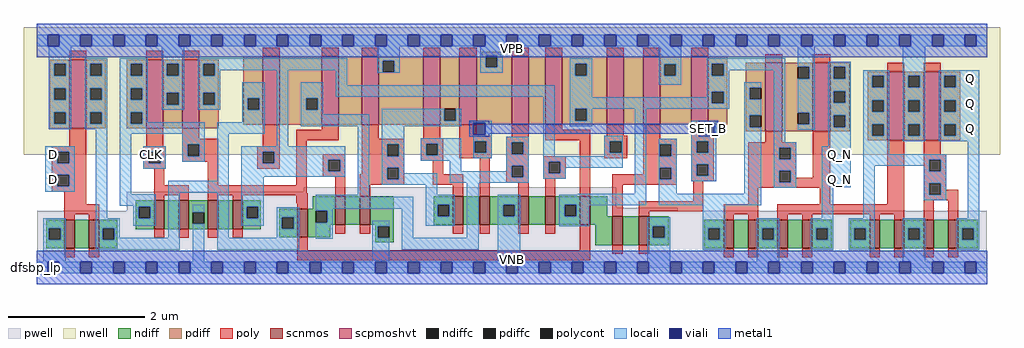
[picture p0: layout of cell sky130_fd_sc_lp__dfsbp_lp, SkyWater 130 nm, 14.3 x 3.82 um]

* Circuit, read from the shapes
.subckt sky130_fd_sc_lp__dfsbp_lp CLK D SET_B VGND VNB VPB VPWR Q Q_N
XM1 n1 D VGND VNB sky130_fd_pr__nfet_01v8 w=0.42 l=0.15
XM2 n2 D n1 VNB sky130_fd_pr__nfet_01v8 w=0.42 l=0.15
XM3 n3 CLK n4 VNB sky130_fd_pr__nfet_01v8 w=0.42 l=0.15
XM4 VGND CLK n3 VNB sky130_fd_pr__nfet_01v8 w=0.42 l=0.15
XM5 n5 n4 VGND VNB sky130_fd_pr__nfet_01v8 w=0.42 l=0.15
XM6 n6 n4 n5 VNB sky130_fd_pr__nfet_01v8 w=0.42 l=0.15
XM7 n7 n4 n2 VNB sky130_fd_pr__nfet_01v8 w=0.42 l=0.15
XM8 n8 n6 n7 VNB sky130_fd_pr__nfet_01v8 w=0.42 l=0.15
XM9 VGND n9 n8 VNB sky130_fd_pr__nfet_01v8 w=0.42 l=0.15
XM10 n10 n7 n9 VNB sky130_fd_pr__nfet_01v8 w=0.42 l=0.15
XM11 VGND SET_B n10 VNB sky130_fd_pr__nfet_01v8 w=0.42 l=0.15
XM12 n11 n7 VGND VNB sky130_fd_pr__nfet_01v8 w=0.42 l=0.15
XM13 n12 n6 n11 VNB sky130_fd_pr__nfet_01v8 w=0.42 l=0.15
XM14 n13 n4 n12 VNB sky130_fd_pr__nfet_01v8 w=0.42 l=0.15
XM15 n14 n15 n13 VNB sky130_fd_pr__nfet_01v8 w=0.42 l=0.15
XM16 VGND SET_B n14 VNB sky130_fd_pr__nfet_01v8 w=0.42 l=0.15
XM17 n16 n12 n15 VNB sky130_fd_pr__nfet_01v8 w=0.42 l=0.15
XM18 VGND n12 n16 VNB sky130_fd_pr__nfet_01v8 w=0.42 l=0.15
XM19 n17 n12 VGND VNB sky130_fd_pr__nfet_01v8 w=0.42 l=0.15
XM20 Q_N n12 n17 VNB sky130_fd_pr__nfet_01v8 w=0.42 l=0.15
XM21 n18 n12 n19 VNB sky130_fd_pr__nfet_01v8 w=0.42 l=0.15
XM22 VGND n12 n18 VNB sky130_fd_pr__nfet_01v8 w=0.42 l=0.15
XM23 n20 n19 VGND VNB sky130_fd_pr__nfet_01v8 w=0.42 l=0.15
XM24 Q n19 n20 VNB sky130_fd_pr__nfet_01v8 w=0.42 l=0.15
XM25 n2 D VPWR VPB sky130_fd_pr__pfet_01v8_hvt w=1 l=0.25
XM26 VPWR CLK n4 VPB sky130_fd_pr__pfet_01v8_hvt w=1 l=0.25
XM27 n6 n4 VPWR VPB sky130_fd_pr__pfet_01v8_hvt w=1 l=0.25
XM28 n7 n6 n2 VPB sky130_fd_pr__pfet_01v8_hvt w=1 l=0.25
XM29 n21 n4 n7 VPB sky130_fd_pr__pfet_01v8_hvt w=1 l=0.25
XM30 VPWR n9 n21 VPB sky130_fd_pr__pfet_01v8_hvt w=1 l=0.25
XM31 n9 n7 VPWR VPB sky130_fd_pr__pfet_01v8_hvt w=1 l=0.25
XM32 VPWR SET_B n9 VPB sky130_fd_pr__pfet_01v8_hvt w=1 l=0.25
XM33 n22 n7 VPWR VPB sky130_fd_pr__pfet_01v8_hvt w=1 l=0.25
XM34 n12 n4 n22 VPB sky130_fd_pr__pfet_01v8_hvt w=1 l=0.25
XM35 n23 n6 n12 VPB sky130_fd_pr__pfet_01v8_hvt w=1 l=0.25
XM36 VPWR n15 n23 VPB sky130_fd_pr__pfet_01v8_hvt w=1 l=0.25
XM37 n12 SET_B VPWR VPB sky130_fd_pr__pfet_01v8_hvt w=1 l=0.25
XM38 VPWR n12 n15 VPB sky130_fd_pr__pfet_01v8_hvt w=1 l=0.25
XM39 Q_N n12 VPWR VPB sky130_fd_pr__pfet_01v8_hvt w=1 l=0.25
XM40 VPWR n12 n19 VPB sky130_fd_pr__pfet_01v8_hvt w=1 l=0.25
XM41 Q n19 VPWR VPB sky130_fd_pr__pfet_01v8_hvt w=1 l=0.25
.ends

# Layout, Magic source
magic
tech sky130A
magscale 1 2
<< nwell >>
rect -38 331 2822 704
<< pwell >>
rect 782 223 1697 235
rect 263 176 1697 223
rect 263 167 1877 176
rect 1 49 2783 167
rect 0 0 2784 49
<< scnmos >>
rect 80 57 110 141
rect 152 57 182 141
rect 343 113 373 197
rect 415 113 445 197
rect 501 113 531 197
rect 573 113 603 197
rect 763 89 793 173
rect 874 125 904 209
rect 946 125 976 209
rect 1219 125 1249 209
rect 1297 125 1327 209
rect 1411 125 1441 209
rect 1489 125 1519 209
rect 1591 125 1621 209
rect 1686 66 1716 150
rect 1764 66 1794 150
rect 2012 57 2042 141
rect 2084 57 2114 141
rect 2170 57 2200 141
rect 2242 57 2272 141
rect 2440 57 2470 141
rect 2512 57 2542 141
rect 2598 57 2628 141
rect 2670 57 2700 141
<< scpmoshvt >>
rect 95 409 145 609
rect 320 409 370 609
rect 426 409 476 609
rect 662 419 712 619
rect 834 419 884 619
rect 952 419 1002 619
rect 1132 419 1182 619
rect 1238 419 1288 619
rect 1391 419 1441 619
rect 1489 419 1539 619
rect 1669 419 1719 619
rect 1777 419 1827 619
rect 1917 419 1967 619
rect 2134 400 2184 600
rect 2274 400 2324 600
rect 2492 374 2542 574
rect 2598 374 2648 574
<< ndiff >>
rect 289 179 343 197
rect 289 145 298 179
rect 332 145 343 179
rect 27 116 80 141
rect 27 82 35 116
rect 69 82 80 116
rect 27 57 80 82
rect 110 57 152 141
rect 182 116 235 141
rect 182 82 193 116
rect 227 82 235 116
rect 289 113 343 145
rect 373 113 415 197
rect 445 163 501 197
rect 445 129 456 163
rect 490 129 501 163
rect 445 113 501 129
rect 531 113 573 197
rect 603 179 656 197
rect 603 145 614 179
rect 648 145 656 179
rect 808 173 874 209
rect 603 113 656 145
rect 710 148 763 173
rect 710 114 718 148
rect 752 114 763 148
rect 710 89 763 114
rect 793 166 874 173
rect 793 132 817 166
rect 851 132 874 166
rect 793 125 874 132
rect 904 125 946 209
rect 976 125 1045 209
rect 1162 185 1219 209
rect 1162 151 1174 185
rect 1208 151 1219 185
rect 1162 125 1219 151
rect 1249 125 1297 209
rect 1327 184 1411 209
rect 1327 150 1366 184
rect 1400 150 1411 184
rect 1327 125 1411 150
rect 1441 125 1489 209
rect 1519 184 1591 209
rect 1519 150 1546 184
rect 1580 150 1591 184
rect 1519 125 1591 150
rect 1621 150 1671 209
rect 1621 125 1686 150
rect 793 89 859 125
rect 991 121 1045 125
rect 182 57 235 82
rect 991 87 999 121
rect 1033 87 1045 121
rect 991 75 1045 87
rect 1636 66 1686 125
rect 1716 66 1764 150
rect 1794 121 1851 150
rect 1794 87 1805 121
rect 1839 87 1851 121
rect 1794 66 1851 87
rect 1955 116 2012 141
rect 1955 82 1967 116
rect 2001 82 2012 116
rect 1955 57 2012 82
rect 2042 57 2084 141
rect 2114 116 2170 141
rect 2114 82 2125 116
rect 2159 82 2170 116
rect 2114 57 2170 82
rect 2200 57 2242 141
rect 2272 116 2329 141
rect 2272 82 2283 116
rect 2317 82 2329 116
rect 2272 57 2329 82
rect 2383 116 2440 141
rect 2383 82 2395 116
rect 2429 82 2440 116
rect 2383 57 2440 82
rect 2470 57 2512 141
rect 2542 116 2598 141
rect 2542 82 2553 116
rect 2587 82 2598 116
rect 2542 57 2598 82
rect 2628 57 2670 141
rect 2700 116 2757 141
rect 2700 82 2711 116
rect 2745 82 2757 116
rect 2700 57 2757 82
<< pdiff >>
rect 1303 621 1361 633
rect 1303 619 1315 621
rect 38 597 95 609
rect 38 563 50 597
rect 84 563 95 597
rect 38 526 95 563
rect 38 492 50 526
rect 84 492 95 526
rect 38 455 95 492
rect 38 421 50 455
rect 84 421 95 455
rect 38 409 95 421
rect 145 597 202 609
rect 145 563 156 597
rect 190 563 202 597
rect 145 526 202 563
rect 145 492 156 526
rect 190 492 202 526
rect 145 455 202 492
rect 145 421 156 455
rect 190 421 202 455
rect 145 409 202 421
rect 263 597 320 609
rect 263 563 275 597
rect 309 563 320 597
rect 263 526 320 563
rect 263 492 275 526
rect 309 492 320 526
rect 263 455 320 492
rect 263 421 275 455
rect 309 421 320 455
rect 263 409 320 421
rect 370 597 426 609
rect 370 563 381 597
rect 415 563 426 597
rect 370 512 426 563
rect 370 478 381 512
rect 415 478 426 512
rect 370 409 426 478
rect 476 597 533 609
rect 476 563 487 597
rect 521 563 533 597
rect 476 512 533 563
rect 476 478 487 512
rect 521 478 533 512
rect 476 409 533 478
rect 605 496 662 619
rect 605 462 617 496
rect 651 462 662 496
rect 605 419 662 462
rect 712 496 834 619
rect 712 462 789 496
rect 823 462 834 496
rect 712 419 834 462
rect 884 419 952 619
rect 1002 606 1132 619
rect 1002 572 1013 606
rect 1047 572 1132 606
rect 1002 419 1132 572
rect 1182 465 1238 619
rect 1182 431 1193 465
rect 1227 431 1238 465
rect 1182 419 1238 431
rect 1288 587 1315 619
rect 1349 619 1361 621
rect 1349 587 1391 619
rect 1288 419 1391 587
rect 1441 419 1489 619
rect 1539 597 1669 619
rect 1539 563 1577 597
rect 1611 563 1669 597
rect 1539 465 1669 563
rect 1539 431 1577 465
rect 1611 431 1669 465
rect 1539 419 1669 431
rect 1719 419 1777 619
rect 1827 596 1917 619
rect 1827 562 1838 596
rect 1872 562 1917 596
rect 1827 419 1917 562
rect 1967 597 2023 619
rect 1967 563 1978 597
rect 2012 563 2023 597
rect 1967 516 2023 563
rect 1967 482 1978 516
rect 2012 482 2023 516
rect 1967 419 2023 482
rect 2077 527 2134 600
rect 2077 493 2089 527
rect 2123 493 2134 527
rect 2077 446 2134 493
rect 2077 412 2089 446
rect 2123 412 2134 446
rect 2077 400 2134 412
rect 2184 588 2274 600
rect 2184 554 2229 588
rect 2263 554 2274 588
rect 2184 454 2274 554
rect 2184 420 2229 454
rect 2263 420 2274 454
rect 2184 400 2274 420
rect 2324 588 2381 600
rect 2324 554 2335 588
rect 2369 554 2381 588
rect 2324 517 2381 554
rect 2324 483 2335 517
rect 2369 483 2381 517
rect 2324 446 2381 483
rect 2324 412 2335 446
rect 2369 412 2381 446
rect 2324 400 2381 412
rect 2435 562 2492 574
rect 2435 528 2447 562
rect 2481 528 2492 562
rect 2435 491 2492 528
rect 2435 457 2447 491
rect 2481 457 2492 491
rect 2435 420 2492 457
rect 2435 386 2447 420
rect 2481 386 2492 420
rect 2435 374 2492 386
rect 2542 562 2598 574
rect 2542 528 2553 562
rect 2587 528 2598 562
rect 2542 491 2598 528
rect 2542 457 2553 491
rect 2587 457 2598 491
rect 2542 420 2598 457
rect 2542 386 2553 420
rect 2587 386 2598 420
rect 2542 374 2598 386
rect 2648 562 2705 574
rect 2648 528 2659 562
rect 2693 528 2705 562
rect 2648 491 2705 528
rect 2648 457 2659 491
rect 2693 457 2705 491
rect 2648 420 2705 457
rect 2648 386 2659 420
rect 2693 386 2705 420
rect 2648 374 2705 386
<< ndiffc >>
rect 298 145 332 179
rect 35 82 69 116
rect 193 82 227 116
rect 456 129 490 163
rect 614 145 648 179
rect 718 114 752 148
rect 817 132 851 166
rect 1174 151 1208 185
rect 1366 150 1400 184
rect 1546 150 1580 184
rect 999 87 1033 121
rect 1805 87 1839 121
rect 1967 82 2001 116
rect 2125 82 2159 116
rect 2283 82 2317 116
rect 2395 82 2429 116
rect 2553 82 2587 116
rect 2711 82 2745 116
<< pdiffc >>
rect 50 563 84 597
rect 50 492 84 526
rect 50 421 84 455
rect 156 563 190 597
rect 156 492 190 526
rect 156 421 190 455
rect 275 563 309 597
rect 275 492 309 526
rect 275 421 309 455
rect 381 563 415 597
rect 381 478 415 512
rect 487 563 521 597
rect 487 478 521 512
rect 617 462 651 496
rect 789 462 823 496
rect 1013 572 1047 606
rect 1193 431 1227 465
rect 1315 587 1349 621
rect 1577 563 1611 597
rect 1577 431 1611 465
rect 1838 562 1872 596
rect 1978 563 2012 597
rect 1978 482 2012 516
rect 2089 493 2123 527
rect 2089 412 2123 446
rect 2229 554 2263 588
rect 2229 420 2263 454
rect 2335 554 2369 588
rect 2335 483 2369 517
rect 2335 412 2369 446
rect 2447 528 2481 562
rect 2447 457 2481 491
rect 2447 386 2481 420
rect 2553 528 2587 562
rect 2553 457 2587 491
rect 2553 386 2587 420
rect 2659 528 2693 562
rect 2659 457 2693 491
rect 2659 386 2693 420
<< poly >>
rect 95 609 145 635
rect 320 609 370 635
rect 426 609 476 635
rect 662 619 712 645
rect 834 619 884 645
rect 952 619 1002 645
rect 1132 619 1182 645
rect 1238 619 1288 645
rect 1391 619 1441 645
rect 1489 619 1539 645
rect 1669 619 1719 645
rect 1777 619 1827 645
rect 1917 619 1967 645
rect 2134 600 2184 626
rect 2274 600 2324 626
rect 95 356 145 409
rect 320 356 370 409
rect 426 377 476 409
rect 426 361 531 377
rect 44 340 145 356
rect 44 306 60 340
rect 94 306 145 340
rect 44 272 145 306
rect 312 340 378 356
rect 312 306 328 340
rect 362 306 378 340
rect 426 327 442 361
rect 476 327 531 361
rect 662 356 712 419
rect 834 404 884 419
rect 426 311 531 327
rect 312 290 378 306
rect 44 238 60 272
rect 94 238 145 272
rect 44 222 145 238
rect 80 186 145 222
rect 343 242 373 290
rect 501 242 531 311
rect 646 340 712 356
rect 646 306 662 340
rect 696 306 712 340
rect 646 290 712 306
rect 760 374 884 404
rect 952 377 1002 419
rect 1132 379 1182 419
rect 1238 387 1288 419
rect 760 242 790 374
rect 952 361 1076 377
rect 838 316 904 332
rect 838 282 854 316
rect 888 282 904 316
rect 838 266 904 282
rect 952 327 1026 361
rect 1060 327 1076 361
rect 952 293 1076 327
rect 1124 363 1190 379
rect 1124 329 1140 363
rect 1174 329 1190 363
rect 1124 313 1190 329
rect 1238 371 1333 387
rect 1391 383 1441 419
rect 1238 337 1283 371
rect 1317 337 1333 371
rect 1238 321 1333 337
rect 1375 367 1441 383
rect 1489 404 1539 419
rect 1489 374 1621 404
rect 1669 387 1719 419
rect 1375 333 1391 367
rect 1425 333 1441 367
rect 952 273 1026 293
rect 343 212 445 242
rect 343 197 373 212
rect 415 197 445 212
rect 501 218 790 242
rect 501 212 793 218
rect 501 197 531 212
rect 573 197 603 212
rect 80 156 182 186
rect 80 141 110 156
rect 152 141 182 156
rect 760 188 793 212
rect 874 209 904 266
rect 946 259 1026 273
rect 1060 259 1076 293
rect 946 243 1076 259
rect 1160 273 1190 313
rect 1160 243 1249 273
rect 946 209 976 243
rect 1219 209 1249 243
rect 1297 209 1327 321
rect 1375 299 1441 333
rect 1375 265 1391 299
rect 1425 265 1441 299
rect 1375 249 1441 265
rect 1483 310 1549 326
rect 1483 276 1499 310
rect 1533 276 1549 310
rect 1483 260 1549 276
rect 1411 209 1441 249
rect 1489 209 1519 260
rect 1591 209 1621 374
rect 1663 371 1729 387
rect 1663 337 1679 371
rect 1713 337 1729 371
rect 1663 321 1729 337
rect 1777 377 1827 419
rect 1917 387 1967 419
rect 2492 574 2542 600
rect 2598 574 2648 600
rect 1777 361 1875 377
rect 1777 327 1825 361
rect 1859 327 1875 361
rect 1777 293 1875 327
rect 1777 273 1825 293
rect 1686 259 1825 273
rect 1859 259 1875 293
rect 1686 243 1875 259
rect 1917 371 1983 387
rect 1917 337 1933 371
rect 1967 337 1983 371
rect 2134 368 2184 400
rect 1917 303 1983 337
rect 1917 269 1933 303
rect 1967 269 1983 303
rect 1917 253 1983 269
rect 2084 352 2225 368
rect 2084 318 2175 352
rect 2209 318 2225 352
rect 2084 284 2225 318
rect 763 173 793 188
rect 343 87 373 113
rect 415 87 445 113
rect 501 87 531 113
rect 573 87 603 113
rect 1686 150 1716 243
rect 1923 195 1953 253
rect 1764 165 1953 195
rect 2084 250 2175 284
rect 2209 264 2225 284
rect 2274 264 2324 400
rect 2209 250 2324 264
rect 2084 234 2324 250
rect 2084 186 2114 234
rect 2294 186 2324 234
rect 2492 186 2542 374
rect 1764 150 1794 165
rect 2012 156 2114 186
rect 874 99 904 125
rect 946 99 976 125
rect 80 31 110 57
rect 152 31 182 57
rect 763 51 793 89
rect 1219 99 1249 125
rect 1297 99 1327 125
rect 1411 99 1441 125
rect 1489 99 1519 125
rect 1591 51 1621 125
rect 2012 141 2042 156
rect 2084 141 2114 156
rect 2170 156 2542 186
rect 2170 141 2200 156
rect 2242 141 2272 156
rect 2440 141 2470 156
rect 2512 141 2542 156
rect 2598 332 2648 374
rect 2598 316 2664 332
rect 2598 282 2614 316
rect 2648 282 2664 316
rect 2598 248 2664 282
rect 2598 214 2614 248
rect 2648 228 2664 248
rect 2648 214 2700 228
rect 2598 198 2700 214
rect 2598 141 2628 198
rect 2670 141 2700 198
rect 763 21 1621 51
rect 1686 40 1716 66
rect 1764 40 1794 66
rect 2012 31 2042 57
rect 2084 31 2114 57
rect 2170 31 2200 57
rect 2242 31 2272 57
rect 2440 31 2470 57
rect 2512 31 2542 57
rect 2598 31 2628 57
rect 2670 31 2700 57
<< polycont >>
rect 60 306 94 340
rect 328 306 362 340
rect 442 327 476 361
rect 60 238 94 272
rect 662 306 696 340
rect 854 282 888 316
rect 1026 327 1060 361
rect 1140 329 1174 363
rect 1283 337 1317 371
rect 1391 333 1425 367
rect 1026 259 1060 293
rect 1391 265 1425 299
rect 1499 276 1533 310
rect 1679 337 1713 371
rect 1825 327 1859 361
rect 1825 259 1859 293
rect 1933 337 1967 371
rect 1933 269 1967 303
rect 2175 318 2209 352
rect 2175 250 2209 284
rect 2614 282 2648 316
rect 2614 214 2648 248
<< locali >>
rect 0 649 31 683
rect 65 649 127 683
rect 161 649 223 683
rect 257 649 319 683
rect 353 649 415 683
rect 449 649 511 683
rect 545 649 607 683
rect 641 649 703 683
rect 737 649 799 683
rect 833 649 895 683
rect 929 649 991 683
rect 1025 649 1087 683
rect 1121 649 1183 683
rect 1217 649 1279 683
rect 1313 649 1375 683
rect 1409 649 1471 683
rect 1505 649 1567 683
rect 1601 649 1663 683
rect 1697 649 1759 683
rect 1793 649 1855 683
rect 1889 649 1951 683
rect 1985 649 2047 683
rect 2081 649 2143 683
rect 2177 649 2239 683
rect 2273 649 2335 683
rect 2369 649 2431 683
rect 2465 649 2527 683
rect 2561 649 2623 683
rect 2657 649 2719 683
rect 2753 649 2784 683
rect 34 597 100 649
rect 34 563 50 597
rect 84 563 100 597
rect 34 526 100 563
rect 34 492 50 526
rect 84 492 100 526
rect 34 455 100 492
rect 34 421 50 455
rect 84 421 100 455
rect 34 405 100 421
rect 140 597 206 613
rect 140 563 156 597
rect 190 563 206 597
rect 140 526 206 563
rect 140 492 156 526
rect 190 492 206 526
rect 140 455 206 492
rect 140 421 156 455
rect 190 421 206 455
rect 140 405 206 421
rect 25 340 110 356
rect 25 306 60 340
rect 94 306 110 340
rect 25 272 110 306
rect 25 238 60 272
rect 94 238 110 272
rect 25 222 110 238
rect 172 145 206 405
rect 242 597 325 613
rect 242 563 275 597
rect 309 563 325 597
rect 242 526 325 563
rect 242 492 275 526
rect 309 492 325 526
rect 242 455 325 492
rect 365 597 431 649
rect 365 563 381 597
rect 415 563 431 597
rect 365 512 431 563
rect 365 478 381 512
rect 415 478 431 512
rect 365 462 431 478
rect 471 597 909 613
rect 471 563 487 597
rect 521 579 909 597
rect 521 563 537 579
rect 471 512 537 563
rect 471 478 487 512
rect 521 478 537 512
rect 471 462 537 478
rect 601 496 667 543
rect 601 462 617 496
rect 651 462 667 496
rect 242 421 275 455
rect 309 426 325 455
rect 601 426 667 462
rect 309 421 492 426
rect 242 392 492 421
rect 242 215 276 392
rect 426 361 492 392
rect 312 340 378 356
rect 312 306 328 340
rect 362 306 378 340
rect 426 327 442 361
rect 476 327 492 361
rect 426 311 492 327
rect 528 392 667 426
rect 312 290 378 306
rect 528 254 562 392
rect 703 356 737 579
rect 773 496 839 543
rect 875 535 909 579
rect 997 606 1063 649
rect 997 572 1013 606
rect 1047 572 1063 606
rect 997 571 1063 572
rect 1299 621 1365 649
rect 1299 587 1315 621
rect 1349 587 1365 621
rect 1299 571 1365 587
rect 1561 597 1627 613
rect 1561 563 1577 597
rect 1611 563 1627 597
rect 875 501 1517 535
rect 773 462 789 496
rect 823 462 839 496
rect 773 449 839 462
rect 773 415 974 449
rect 384 220 562 254
rect 242 181 348 215
rect 282 179 348 181
rect 282 145 298 179
rect 332 145 348 179
rect 19 116 85 145
rect 19 82 35 116
rect 69 82 85 116
rect 19 17 85 82
rect 172 116 243 145
rect 282 123 348 145
rect 172 82 193 116
rect 227 87 243 116
rect 384 87 418 220
rect 227 82 418 87
rect 172 53 418 82
rect 456 163 490 184
rect 456 17 490 129
rect 528 87 562 220
rect 598 340 904 356
rect 598 306 662 340
rect 696 316 904 340
rect 696 306 854 316
rect 598 282 854 306
rect 888 282 904 316
rect 598 266 904 282
rect 598 179 664 266
rect 940 213 974 415
rect 1010 431 1193 465
rect 1227 431 1243 465
rect 1010 415 1243 431
rect 1279 424 1333 430
rect 1010 361 1076 415
rect 1313 390 1333 424
rect 1010 327 1026 361
rect 1060 327 1076 361
rect 1010 293 1076 327
rect 1124 363 1243 379
rect 1124 329 1140 363
rect 1174 329 1243 363
rect 1124 313 1243 329
rect 1279 371 1333 390
rect 1279 337 1283 371
rect 1317 337 1333 371
rect 1279 321 1333 337
rect 1375 367 1441 383
rect 1375 333 1391 367
rect 1425 333 1441 367
rect 1010 259 1026 293
rect 1060 277 1076 293
rect 1209 283 1243 313
rect 1375 299 1441 333
rect 1375 283 1391 299
rect 1060 259 1173 277
rect 1010 243 1173 259
rect 1209 265 1391 283
rect 1425 265 1441 299
rect 1209 249 1441 265
rect 1483 326 1517 501
rect 1561 500 1627 563
rect 1822 596 1888 649
rect 1822 562 1838 596
rect 1872 562 1888 596
rect 1822 536 1888 562
rect 1962 597 2193 613
rect 1962 563 1978 597
rect 2012 579 2193 597
rect 2012 563 2028 579
rect 1962 516 2028 563
rect 1962 500 1978 516
rect 1561 482 1978 500
rect 2012 482 2028 516
rect 1561 466 2028 482
rect 2073 527 2123 543
rect 2073 493 2089 527
rect 1561 465 1627 466
rect 1561 431 1577 465
rect 1611 431 1627 465
rect 1561 415 1627 431
rect 1663 371 1716 387
rect 1663 337 1679 371
rect 1713 337 1716 371
rect 1663 326 1716 337
rect 1483 310 1716 326
rect 1483 276 1499 310
rect 1533 292 1716 310
rect 1533 276 1549 292
rect 1483 260 1549 276
rect 598 145 614 179
rect 648 145 664 179
rect 817 207 974 213
rect 1139 213 1173 243
rect 598 123 664 145
rect 702 148 768 177
rect 702 114 718 148
rect 752 114 768 148
rect 702 87 768 114
rect 528 53 768 87
rect 817 173 1103 207
rect 817 166 867 173
rect 851 132 867 166
rect 817 85 867 132
rect 983 121 1033 137
rect 983 87 999 121
rect 983 17 1033 87
rect 1069 87 1103 173
rect 1139 185 1224 213
rect 1139 151 1174 185
rect 1208 151 1224 185
rect 1139 123 1224 151
rect 1260 87 1294 249
rect 1752 217 1786 466
rect 2073 446 2123 493
rect 1917 424 1991 430
rect 1917 390 1951 424
rect 1985 390 1991 424
rect 1585 213 1786 217
rect 1069 53 1294 87
rect 1350 184 1416 213
rect 1350 150 1366 184
rect 1400 150 1416 184
rect 1350 17 1416 150
rect 1530 184 1786 213
rect 1530 150 1546 184
rect 1580 183 1786 184
rect 1822 361 1875 377
rect 1822 327 1825 361
rect 1859 327 1875 361
rect 1822 293 1875 327
rect 1822 259 1825 293
rect 1859 259 1875 293
rect 1822 217 1875 259
rect 1917 371 1991 390
rect 1917 337 1933 371
rect 1967 337 1991 371
rect 1917 303 1991 337
rect 1917 269 1933 303
rect 1967 269 1991 303
rect 1917 253 1991 269
rect 2073 412 2089 446
rect 2073 217 2123 412
rect 2159 368 2193 579
rect 2229 588 2279 649
rect 2263 554 2279 588
rect 2229 454 2279 554
rect 2263 420 2279 454
rect 2229 404 2279 420
rect 2319 588 2385 604
rect 2319 554 2335 588
rect 2369 554 2385 588
rect 2319 517 2385 554
rect 2319 483 2335 517
rect 2369 483 2385 517
rect 2319 446 2385 483
rect 2319 412 2335 446
rect 2369 412 2385 446
rect 2159 352 2225 368
rect 2319 356 2385 412
rect 2159 318 2175 352
rect 2209 318 2225 352
rect 2159 284 2225 318
rect 2159 250 2175 284
rect 2209 250 2225 284
rect 2159 234 2225 250
rect 2299 236 2385 356
rect 2421 562 2497 578
rect 2421 528 2447 562
rect 2481 528 2497 562
rect 2421 491 2497 528
rect 2421 457 2447 491
rect 2481 457 2497 491
rect 2421 420 2497 457
rect 2421 386 2447 420
rect 2481 386 2497 420
rect 2421 332 2497 386
rect 2537 562 2603 649
rect 2537 528 2553 562
rect 2587 528 2603 562
rect 2537 491 2603 528
rect 2537 457 2553 491
rect 2587 457 2603 491
rect 2537 420 2603 457
rect 2537 386 2553 420
rect 2587 386 2603 420
rect 2537 370 2603 386
rect 2643 562 2761 578
rect 2643 528 2659 562
rect 2693 528 2761 562
rect 2643 491 2761 528
rect 2643 457 2659 491
rect 2693 457 2761 491
rect 2643 420 2761 457
rect 2643 386 2659 420
rect 2693 386 2761 420
rect 2643 370 2761 386
rect 2421 316 2664 332
rect 2421 298 2614 316
rect 1822 183 2123 217
rect 1580 150 1619 183
rect 1530 121 1619 150
rect 1789 121 1855 147
rect 1789 87 1805 121
rect 1839 87 1855 121
rect 1789 17 1855 87
rect 1951 116 2017 183
rect 2299 145 2333 236
rect 2421 145 2455 298
rect 2598 282 2614 298
rect 2648 282 2664 316
rect 2598 248 2664 282
rect 2598 214 2614 248
rect 2648 214 2664 248
rect 2598 198 2664 214
rect 2727 145 2761 370
rect 1951 82 1967 116
rect 2001 82 2017 116
rect 1951 53 2017 82
rect 2109 116 2175 145
rect 2109 82 2125 116
rect 2159 82 2175 116
rect 2109 17 2175 82
rect 2267 116 2333 145
rect 2267 82 2283 116
rect 2317 82 2333 116
rect 2267 53 2333 82
rect 2379 116 2455 145
rect 2379 82 2395 116
rect 2429 82 2455 116
rect 2379 53 2455 82
rect 2537 116 2603 145
rect 2537 82 2553 116
rect 2587 82 2603 116
rect 2537 17 2603 82
rect 2695 116 2761 145
rect 2695 82 2711 116
rect 2745 82 2761 116
rect 2695 53 2761 82
rect 0 -17 31 17
rect 65 -17 127 17
rect 161 -17 223 17
rect 257 -17 319 17
rect 353 -17 415 17
rect 449 -17 511 17
rect 545 -17 607 17
rect 641 -17 703 17
rect 737 -17 799 17
rect 833 -17 895 17
rect 929 -17 991 17
rect 1025 -17 1087 17
rect 1121 -17 1183 17
rect 1217 -17 1279 17
rect 1313 -17 1375 17
rect 1409 -17 1471 17
rect 1505 -17 1567 17
rect 1601 -17 1663 17
rect 1697 -17 1759 17
rect 1793 -17 1855 17
rect 1889 -17 1951 17
rect 1985 -17 2047 17
rect 2081 -17 2143 17
rect 2177 -17 2239 17
rect 2273 -17 2335 17
rect 2369 -17 2431 17
rect 2465 -17 2527 17
rect 2561 -17 2623 17
rect 2657 -17 2719 17
rect 2753 -17 2784 17
<< viali >>
rect 31 649 65 683
rect 127 649 161 683
rect 223 649 257 683
rect 319 649 353 683
rect 415 649 449 683
rect 511 649 545 683
rect 607 649 641 683
rect 703 649 737 683
rect 799 649 833 683
rect 895 649 929 683
rect 991 649 1025 683
rect 1087 649 1121 683
rect 1183 649 1217 683
rect 1279 649 1313 683
rect 1375 649 1409 683
rect 1471 649 1505 683
rect 1567 649 1601 683
rect 1663 649 1697 683
rect 1759 649 1793 683
rect 1855 649 1889 683
rect 1951 649 1985 683
rect 2047 649 2081 683
rect 2143 649 2177 683
rect 2239 649 2273 683
rect 2335 649 2369 683
rect 2431 649 2465 683
rect 2527 649 2561 683
rect 2623 649 2657 683
rect 2719 649 2753 683
rect 1279 390 1313 424
rect 1951 390 1985 424
rect 31 -17 65 17
rect 127 -17 161 17
rect 223 -17 257 17
rect 319 -17 353 17
rect 415 -17 449 17
rect 511 -17 545 17
rect 607 -17 641 17
rect 703 -17 737 17
rect 799 -17 833 17
rect 895 -17 929 17
rect 991 -17 1025 17
rect 1087 -17 1121 17
rect 1183 -17 1217 17
rect 1279 -17 1313 17
rect 1375 -17 1409 17
rect 1471 -17 1505 17
rect 1567 -17 1601 17
rect 1663 -17 1697 17
rect 1759 -17 1793 17
rect 1855 -17 1889 17
rect 1951 -17 1985 17
rect 2047 -17 2081 17
rect 2143 -17 2177 17
rect 2239 -17 2273 17
rect 2335 -17 2369 17
rect 2431 -17 2465 17
rect 2527 -17 2561 17
rect 2623 -17 2657 17
rect 2719 -17 2753 17
<< metal1 >>
rect 0 683 2784 715
rect 0 649 31 683
rect 65 649 127 683
rect 161 649 223 683
rect 257 649 319 683
rect 353 649 415 683
rect 449 649 511 683
rect 545 649 607 683
rect 641 649 703 683
rect 737 649 799 683
rect 833 649 895 683
rect 929 649 991 683
rect 1025 649 1087 683
rect 1121 649 1183 683
rect 1217 649 1279 683
rect 1313 649 1375 683
rect 1409 649 1471 683
rect 1505 649 1567 683
rect 1601 649 1663 683
rect 1697 649 1759 683
rect 1793 649 1855 683
rect 1889 649 1951 683
rect 1985 649 2047 683
rect 2081 649 2143 683
rect 2177 649 2239 683
rect 2273 649 2335 683
rect 2369 649 2431 683
rect 2465 649 2527 683
rect 2561 649 2623 683
rect 2657 649 2719 683
rect 2753 649 2784 683
rect 0 617 2784 649
rect 1267 424 1325 430
rect 1267 390 1279 424
rect 1313 421 1325 424
rect 1939 424 1997 430
rect 1939 421 1951 424
rect 1313 393 1951 421
rect 1313 390 1325 393
rect 1267 384 1325 390
rect 1939 390 1951 393
rect 1985 390 1997 424
rect 1939 384 1997 390
rect 0 17 2784 49
rect 0 -17 31 17
rect 65 -17 127 17
rect 161 -17 223 17
rect 257 -17 319 17
rect 353 -17 415 17
rect 449 -17 511 17
rect 545 -17 607 17
rect 641 -17 703 17
rect 737 -17 799 17
rect 833 -17 895 17
rect 929 -17 991 17
rect 1025 -17 1087 17
rect 1121 -17 1183 17
rect 1217 -17 1279 17
rect 1313 -17 1375 17
rect 1409 -17 1471 17
rect 1505 -17 1567 17
rect 1601 -17 1663 17
rect 1697 -17 1759 17
rect 1793 -17 1855 17
rect 1889 -17 1951 17
rect 1985 -17 2047 17
rect 2081 -17 2143 17
rect 2177 -17 2239 17
rect 2273 -17 2335 17
rect 2369 -17 2431 17
rect 2465 -17 2527 17
rect 2561 -17 2623 17
rect 2657 -17 2719 17
rect 2753 -17 2784 17
rect 0 -49 2784 -17
<< labels >>
flabel pwell s 0 0 2784 49 0 FreeSans 200 0 0 0 VNB
port 5 nsew ground bidirectional
flabel nwell s 0 617 2784 666 0 FreeSans 200 0 0 0 VPB
port 6 nsew power bidirectional
rlabel comment s 0 0 0 0 4 dfsbp_lp
flabel metal1 s 1951 390 1985 424 0 FreeSans 340 0 0 0 SET_B
port 3 nsew signal input
flabel metal1 s 0 617 2784 666 0 FreeSans 340 0 0 0 VPWR
port 7 nsew power bidirectional
flabel metal1 s 0 0 2784 49 0 FreeSans 340 0 0 0 VGND
port 4 nsew ground bidirectional
flabel locali s 2335 242 2369 276 0 FreeSans 340 0 0 0 Q_N
port 9 nsew signal output
flabel locali s 2335 316 2369 350 0 FreeSans 340 0 0 0 Q_N
port 9 nsew signal output
flabel locali s 31 242 65 276 0 FreeSans 340 0 0 0 D
port 2 nsew signal input
flabel locali s 31 316 65 350 0 FreeSans 340 0 0 0 D
port 2 nsew signal input
flabel locali s 319 316 353 350 0 FreeSans 340 0 0 0 CLK
port 1 nsew clock input
flabel locali s 2719 390 2753 424 0 FreeSans 340 0 0 0 Q
port 8 nsew signal output
flabel locali s 2719 464 2753 498 0 FreeSans 340 0 0 0 Q
port 8 nsew signal output
flabel locali s 2719 538 2753 572 0 FreeSans 340 0 0 0 Q
port 8 nsew signal output
<< properties >>
string LEFsite unit
string LEFclass CORE
string FIXED_BBOX 0 0 2784 666
string GDS_FILE $PDKPATH/libs.ref/sky130_fd_sc_lp/gds/sky130_fd_sc_lp.gds
string LEFsymmetry X Y R90
string GDS_END 2325680
string GDS_START 2307914
<< end >>
